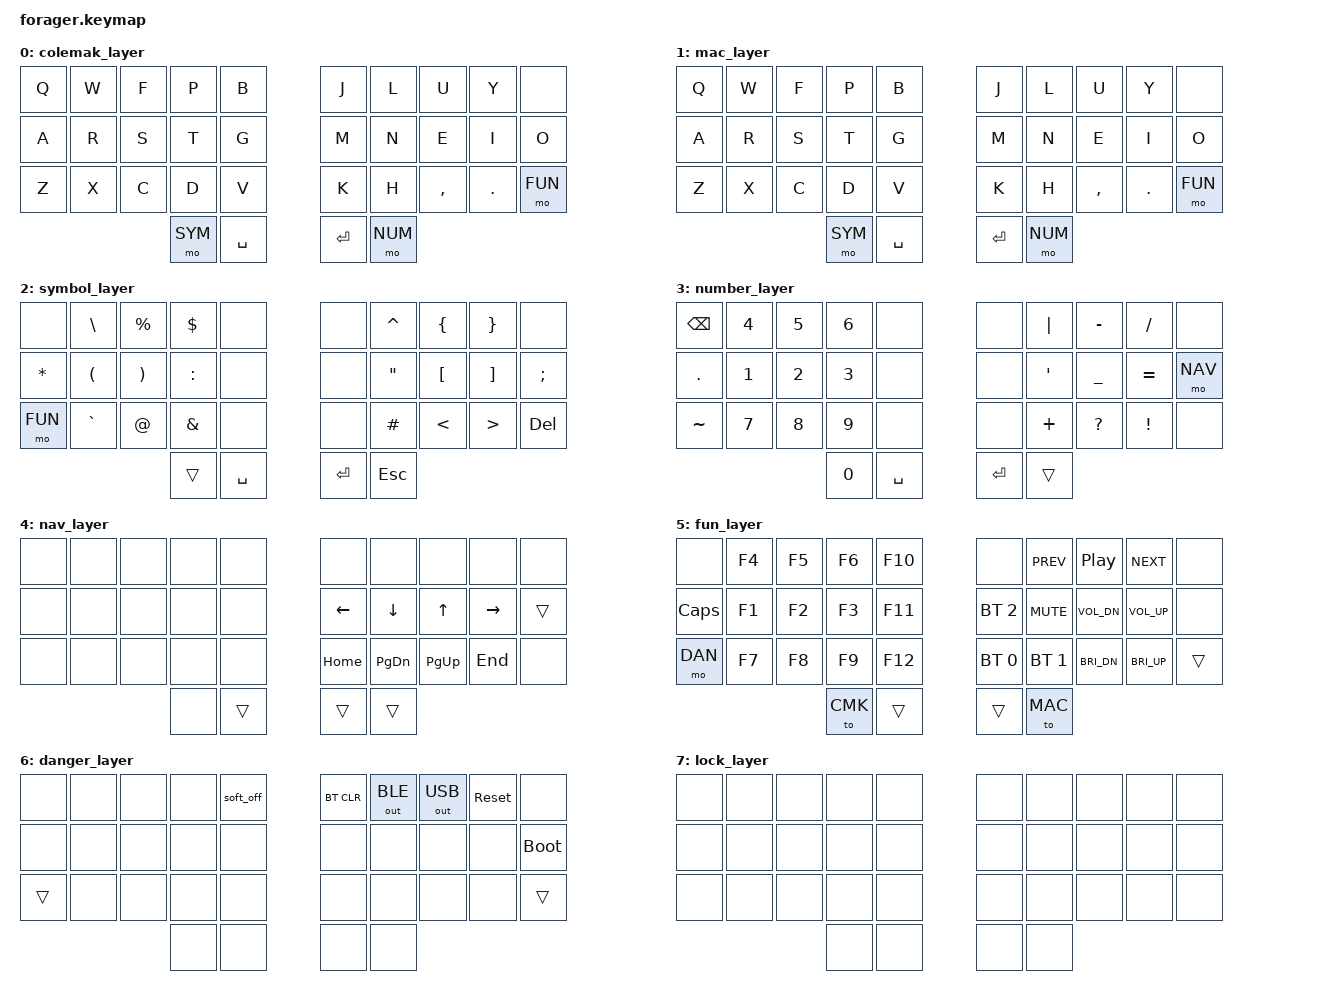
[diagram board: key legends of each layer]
/*
 * Copyright (c) 2020 The ZMK Contributors
 *
 * SPDX-License-Identifier: MIT
 */


#include <behaviors.dtsi>
#include <behaviors/insomnia.dtsi>
#include <dt-bindings/zmk/keys.h>
#include <dt-bindings/zmk/bt.h>
#include <dt-bindings/zmk/outputs.h>
 
#define CMK 0
#define MAC 1
#define SYM 2
#define NUM 3
#define NAV 4
#define FUN 5
#define DAN 6
#define LCK 7

&caps_word {
   continue-list = <UNDERSCORE MINUS BACKSPACE>;
};


/ {

    combos {
        #include "combos.dtsi"    
    };

    behaviors {
        skq: sticky_key_quick_release {
            compatible = "zmk,behavior-sticky-key";
            label = "STICKY_KEY_QUICK_RELEASE";
            #binding-cells = <1>;
            bindings = <&kp>;
            release-after-ms = <1000>;
            quick-release;
        };
    };
};

/*           34 Keys
╭──────────────╮ ╭──────────────╮
│ 0  1  2  3  4│ │ 5  6  7  8  9│
│10 11 12 13 14│ │15 16 17 18 19│
│20 21 22 23 24│ │25 26 27 28 29│
╰────────╮30 31│ │32 33╭────────╯
         ╰─────╯ ╰─────╯         */


/ {
        keymap {
                compatible = "zmk,keymap";
                colemak_layer {
// -----------------------------------------------------------------
// |  Q  |  W  |  F  |  P  |  B  | |  J  |  L  |  U  |  Y  |     |
// |  A  |  R  |  S  |  T  |  G  | |  M  |  N  |  E  |  I  |  O  |
// |  Z  |  X  |  C  |  D  |  V  | |  K  |  H  |  ,  |  .  |-FUN-|
//                   |-SYM-| SPC | | RET |-NUM-|
                        bindings = <
   &kp Q &kp W &kp F &kp P &kp B &kp J &kp L   &kp U     &kp Y   &none
   &kp A &kp R &kp S &kp T &kp G &kp M &kp N   &kp E     &kp I   &kp O
   &kp Z &kp X &kp C &kp D &kp V &kp K &kp H   &kp COMMA &kp DOT &mo FUN
                   &mo SYM &kp SPACE &kp RET &mo NUM
                        >;
                };
                mac_layer {
// macOS base layer - identical to colemak_layer
// Combos behave differently: Ctrl combo sends Cmd, Cmd combo sends Ctrl
// -----------------------------------------------------------------
// |  Q  |  W  |  F  |  P  |  B  | |  J  |  L  |  U  |  Y  |     |
// |  A  |  R  |  S  |  T  |  G  | |  M  |  N  |  E  |  I  |  O  |
// |  Z  |  X  |  C  |  D  |  V  | |  K  |  H  |  ,  |  .  |-FUN-|
//                   |-SYM-| SPC | | RET |-NUM-|
                        bindings = <
   &kp Q &kp W &kp F &kp P &kp B &kp J &kp L   &kp U     &kp Y   &none
   &kp A &kp R &kp S &kp T &kp G &kp M &kp N   &kp E     &kp I   &kp O
   &kp Z &kp X &kp C &kp D &kp V &kp K &kp H   &kp COMMA &kp DOT &mo FUN
                   &mo SYM &kp SPACE &kp RET &mo NUM
                        >;
                };
                symbol_layer {
// -----------------------------------------------------------------
// |     |  \  |  %  |  $  |     | |     |  ^  |  {  |  }  |     |
// |  *  |  (  |  )  |  :  |     | |     |  "  |  [  |  ]  |  ;  |
// |     |  `  |  @  |  &  |     | |     |  #  |  <  |  >  |-FUN-|
//                   |_SYM_| SPC | | RET | ESC |
                        bindings = <
   &none  &kp BSLH &kp PRCNT &kp DLLR  &none &none &kp CARET &kp LBRC &kp RBRC &none
   &kp STAR &kp LPAR &kp RPAR  &kp COLON &none &none &kp DQT   &kp LBKT &kp RBKT &kp SEMI
   &mo FUN  &kp GRAVE   &kp AT  &kp AMPS  &none &none &kp HASH &kp LT   &kp GT   &kp DEL
                             &trans &kp SPACE &kp RET &kp ESC
                        >;
                };
                number_layer {
// -----------------------------------------------------------------
// |     |  4  |  5  |  6  |     | |     |  |  |  -  |  /  |     |
// |  .  |  1  |  2  |  3  |     | |     |  '  |  _  |  =  |-NAV-|
// |  ~  |  7  |  8  |  9  |     | |     |  +  |  ?  |  !  |     |
//                   |  0  | SPC | | RET |_NUM_|
                        bindings = <
   &kp BSPC  &kp N4 &kp N5 &kp N6 &none &none &kp PIPE &kp MINUS &kp FSLH  &none
   &kp DOT &kp N1 &kp N2 &kp N3 &none &none &kp SQT  &kp UNDER &kp EQUAL &mo NAV  
   &kp TILDE  &kp N7 &kp N8 &kp N9 &none &none &kp PLUS &kp QMARK  &kp EXCL    &none
                 &kp N0 &kp SPACE &kp RET  &trans
                        >;
                };
                nav_layer {
// -----------------------------------------------------------------
// |     |     |     |     |     | |     |     |     |     |     |
// |     |     |     |     |     | | LFT | DWN | U P |RIGHT|_NAV_|
// |     |     |     |     |     | | HOM |PG_DN|PG_UP| END |     |
//                   |     | SPC | | RET |_NUM_|
                        bindings = <
   &none &none &none &none &none &none    &none     &none     &none     &none 
   &none &none &none &none &none &kp LEFT &kp DOWN  &kp UP    &kp RIGHT &trans  
   &none &none &none &none &none &kp HOME &kp PG_DN &kp PG_UP &kp END   &none 
                         &none &trans &trans &trans
                        >;
                };
                fun_layer {
// -----------------------------------------------------------------
// |     | F 4 | F 5 | F 6 | F10 | |     | PREV|PLAY | NEXT|     |
// |CAPSL| F 1 | F 2 | F 3 | F11 | | BT2 |VMUTE|VOLDN|VOLUP| <!> |
// |-!!!-| F 7 | F 8 | F 9 | F12 | | BT0 | BT1 |BRIDN|BRIUP|_FUN_|
//                   |     | SPC | | RET |     |
                        bindings = <
   &none &kp F4 &kp F5 &kp F6 &kp F10 &none &kp C_PREV &kp C_PP &kp C_NEXT &none
   &kp CAPS &kp F1   &kp F2 &kp F3 &kp F11 &bt BT_SEL 2 &kp K_MUTE &kp C_VOL_DN &kp C_VOL_UP &none
   &mo DAN &kp F7 &kp F8 &kp F9  &kp F12 &bt BT_SEL 0  &bt BT_SEL 1 &kp C_BRI_DN &kp C_BRI_UP &trans
                         &to CMK &trans &trans &to MAC 
                        >;
                };
                danger_layer {
// -----------------------------------------------------------------
// |     |     |     |     | OFF | |BTCLR| BLE | USB |RESET|     |
// |     |     |     |     |     | |     |     |     |     |BOOTL|
// |_!!!_|     |     |     |     | |     |     |     |     |_FUN_|
//                   |     |     | |     |     |
                    // impactful buttons
                    // soft off, Bluetooth clear, reset, BLE/USB preference, bootloader
                    bindings = <
&none &none &none &none &soft_off &bt BT_CLR  &out OUT_BLE &out OUT_USB &sys_reset &none
&none &none &none &none &none &none &none &none &none &bootloader
&trans &none &none &none &none &none &none &none &none &trans
&none &none &none &none
                    >;
                };
                lock_layer {
                    // only way out is the lock combo
                    // other combos are disabled too
                    bindings = <
&none &none &none &none &none &none &none &none &none &none
&none &none &none &none &none &none &none &none &none &none
&none &none &none &none &none &none &none &none &none &none
&none &none &none &none
                    >;
                };
        };
};
